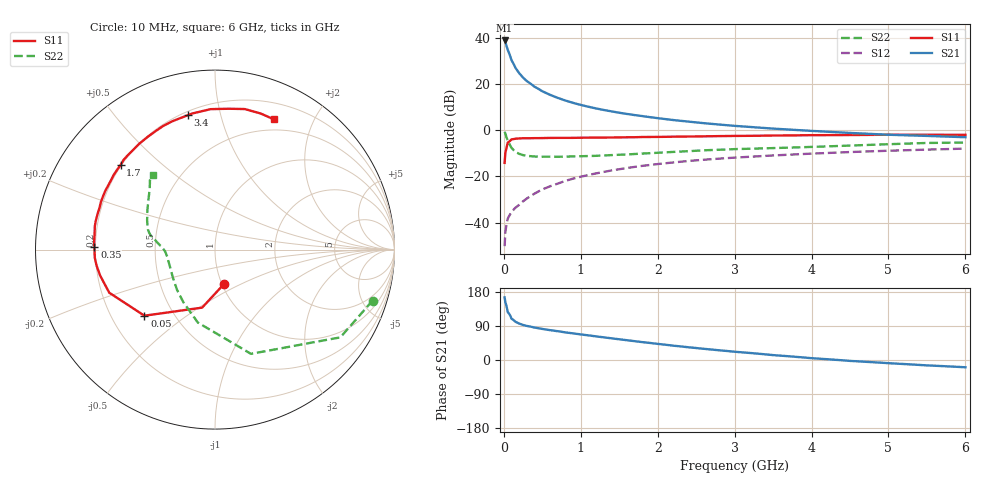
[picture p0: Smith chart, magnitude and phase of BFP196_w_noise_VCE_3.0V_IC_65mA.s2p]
! Infineon Technologies  Discrete & RF Semiconductors
! BFP196
! VCE =  3.0 V,  IC =  65 mA
! Common Emitter S-Parameters:  Jan 2017
# GHz  S  MA  R  50
!  f  S11  S21  S12  S22
! GHz  MAG  ANG  MAG  ANG  MAG  ANG  MAG  ANG
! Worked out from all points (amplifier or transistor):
!   77 points, 10 MHz to 6 GHz, reference 50 ohm
!   highest |S21| = 38.9 dB at 10 MHz (marker M1)
!   |S21| within 3 dB of that: start of sweep to 40.65 MHz
!   unconditionally stable (mu >= 1): 467.2 MHz to 2.531 GHz
!   at 130 MHz: K = 0.70, MSG = 31.4 dB, |S12| = -34.2 dB
!   at 2.2 GHz: K = 1.01, MAG = 8.6 dB, |S12| = -13.9 dB
!   at 6 GHz: K = 0.96, MSG = 2.5 dB, |S12| = -7.9 dB
!   lowest NFmin = 1.62 dB at 450 MHz
!   S11 on the Smith chart (normalised r, x): 10 MHz: 1.03, -0.41; 50 MHz: 0.34, -0.35; 350 MHz: 0.20, +0.01; 1.7 GHz: 0.20, +0.37; 3.4 GHz: 0.22, +0.79; 6 GHz: 0.37, +1.48
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0.01  0.1964 -74.5  87.71 165.2  0.0031 82.2  0.9232 -17.9
0.02  0.3312 -102.5  81.73 152.2  0.0063 69.7  0.8525 -35.0
0.05  0.5389 -136.9  55.36 126.6  0.0121 55.6  0.6141 -71.0
0.1  0.6361 -157.8  32.71 108.8  0.0169 54.3  0.4173 -103.3
0.15  0.656 -167.2  22.56 101.0  0.021 57.6  0.3412 -121.3
0.2  0.6656 -172.2  17.15 96.1  0.0244 61.9  0.3086 -133.2
0.25  0.6715 -176.1  13.79 92.5  0.029 63.4  0.2897 -141.3
0.3  0.671 -179.1  11.54 89.9  0.0334 65.9  0.2799 -147.6
0.35  0.6725 178.6  10.13 88.0  0.038 66.7  0.2744 -151.7
0.4  0.6751 176.4  8.725 85.5  0.0426 67.4  0.2704 -155.9
0.5  0.6766 172.4  6.985 82.0  0.0523 68.4  0.2674 -161.5
0.6  0.6822 169.0  5.849 78.8  0.0612 68.6  0.2675 -165.7
0.8  0.6837 163.0  4.398 72.9  0.0803 68.0  0.2688 -171.4
1.1  0.6909 154.4  3.225 65.0  0.1077 64.7  0.2765 -177.1
1.4  0.6967 146.2  2.56 57.2  0.1349 61.0  0.29 178.7
1.7  0.7063 138.1  2.13 49.7  0.1611 57.0  0.306 175.8
2.1  0.7207 128.0  1.744 40.3  0.193 51.0  0.3324 171.7
3.1  0.755 106.8  1.211 20.2  0.2612 37.0  0.3942 161.9
3.4  0.7641 101.4  1.115 14.9  0.2787 33.2  0.4067 158.1
4.1  0.783 90.3  0.949 3.5  0.3168 24.5  0.4414 148.3
5.1  0.7995 76.7  0.79 -9.5  0.3644 12.7  0.5049 136.0
6  0.7963 65.7  0.707 -19.2  0.4006 2.7  0.5427 129.6
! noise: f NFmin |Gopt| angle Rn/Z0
0.45  1.62  0.43  -173  0.06
0.9  1.78  0.49  -160  0.08
1.9  2.59  0.69  -131  0.35
2.4  3  0.7  -118  0.75
